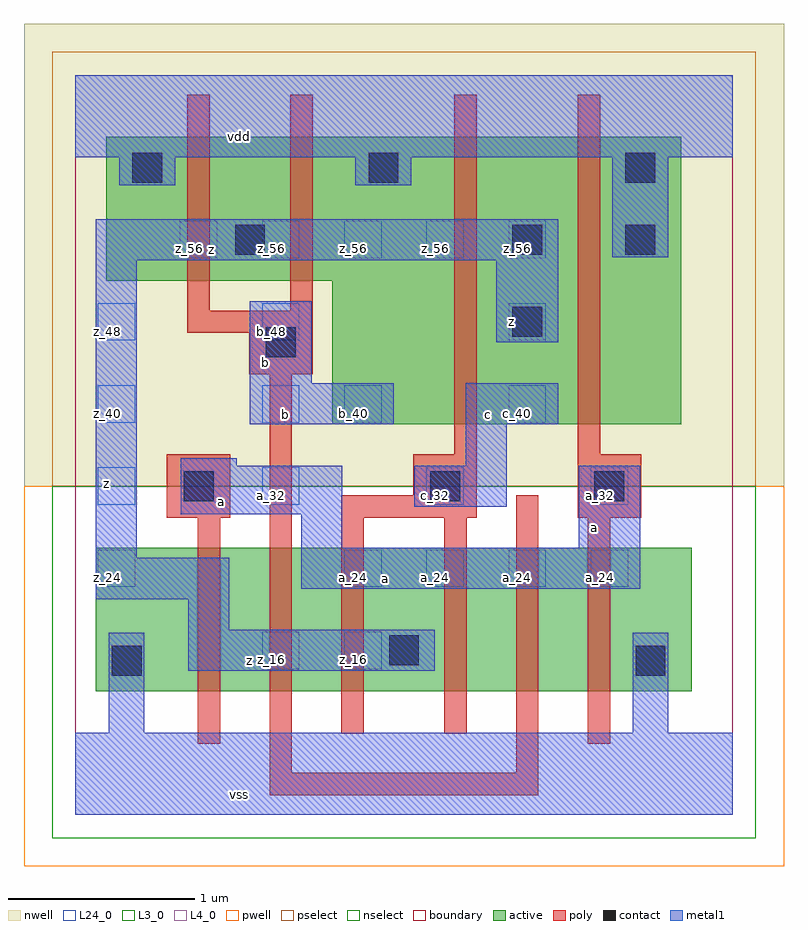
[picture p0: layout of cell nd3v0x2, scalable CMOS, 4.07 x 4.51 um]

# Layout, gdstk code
import gdstk
lib = gdstk.Library(unit=1e-6, precision=2.5e-09)
def R(c, l, rs):  # rectangles x0, y0, x1, y1
    for r in rs: c.add(gdstk.rectangle(r[:2], r[2:], *l))
def A(c, l, x, y, w, h, nx, ny, dx, dy):  # array of equal rectangles
    R(c, l, [(x+i*dx, y+j*dy, x+i*dx+w, y+j*dy+h) for i in range(nx) for j in range(ny)])
L3_0 = (3, 0)
L4_0 = (4, 0)
L24_0 = (24, 0)
contact = (25, 0)
pwell = (41, 0)
nwell = (42, 0)
active = (43, 0)
pselect = (44, 0)
nselect = (45, 0)
poly = (46, 0)
metal1 = (49, 0)
boundary = (63, 0)

nd3v0x2 = lib.new_cell('nd3v0x2')
R(nd3v0x2, L3_0, [(0.11,0.66,3.3,1.43)])
R(nd3v0x2, L4_0, [(1.375,2.09,3.245,2.86), (0.165,2.86,3.245,3.63)])
A(nd3v0x2, L24_0, 1.44, 1.22, 0.2, 0.2, 4, 1, 0.44, 0)
A(nd3v0x2, L24_0, 0.12, 1.66, 0.2, 0.2, 4, 1, 0.88, 0)
A(nd3v0x2, L24_0, 0.56, 2.98, 0.2, 0.2, 5, 1, 0.44, 0)
R(nd3v0x2, L24_0, [(1,0.78,1.2,0.98), (1.44,0.78,1.64,0.98), (0.12,1.22,0.32,1.42), (0.12,2.1,0.32,2.3), (1,2.1,1.2,2.3), (1.44,2.1,1.64,2.3), (2.32,2.1,2.52,2.3), (0.12,2.54,0.32,2.74), (1,2.54,1.2,2.74), (2.32,2.54,2.52,2.74)])
R(nd3v0x2, contact, [(0.195,0.745,0.355,0.905), (3,0.745,3.16,0.905), (1.68,0.8,1.84,0.96), (0.58,1.68,0.74,1.84), (1.9,1.68,2.06,1.84), (2.78,1.68,2.94,1.84), (1.02,2.45,1.18,2.61), (2.34,2.56,2.5,2.72), (0.855,3,1.015,3.16), (2.34,3,2.5,3.16), (2.945,3,3.105,3.16), (0.305,3.385,0.465,3.545), (1.57,3.385,1.73,3.545), (2.945,3.385,3.105,3.545)])
R(nd3v0x2, pwell, [(-0.275,-0.275,3.795,1.76)])
R(nd3v0x2, nwell, [(-0.275,1.76,3.795,4.235)])
R(nd3v0x2, active, [(0.11,0.66,3.3,1.43), (1.375,2.09,3.245,2.86), (0.165,2.86,3.245,3.63)])
R(nd3v0x2, pselect, [(-0.125,1.76,3.645,4.085)])
R(nd3v0x2, nselect, [(-0.125,-0.125,3.645,1.76)])
R(nd3v0x2, poly, [(1.04,0.105,2.48,0.225), (1.04,0.225,1.16,2.36), (2.36,0.225,2.48,1.71), (0.655,0.38,0.775,1.59), (2.745,0.38,2.865,1.59), (1.425,0.435,1.545,1.59), (1.975,0.435,2.095,1.59), (0.49,1.59,0.83,1.93), (1.425,1.59,2.15,1.71), (2.69,1.59,3.03,1.93), (1.81,1.71,2.15,1.93), (2.03,1.93,2.15,3.855), (2.69,1.93,2.81,3.855), (0.93,2.36,1.27,2.58), (0.6,2.58,1.27,2.7), (0.6,2.7,0.72,3.855), (1.15,2.7,1.27,3.855)])
R(nd3v0x2, metal1, [(0,0,3.52,0.44), (0.18,0.44,0.37,0.975), (2.985,0.44,3.175,0.975), (0.605,0.77,1.925,0.99), (0.605,0.99,0.825,1.155), (0.11,1.155,0.825,1.375), (1.21,1.21,3.025,1.43), (0.11,1.375,0.33,2.97), (1.21,1.43,1.43,1.61), (2.695,1.43,3.025,1.87), (0.565,1.61,1.43,1.87), (1.815,1.65,2.31,1.87), (0.565,1.87,0.865,1.91), (2.09,1.87,2.31,2.09), (0.935,2.09,1.705,2.31), (2.09,2.09,2.585,2.31), (0.935,2.31,1.265,2.75), (2.255,2.53,2.585,2.97), (0.11,2.97,2.585,3.19), (2.875,2.985,3.175,3.52), (0.235,3.37,0.535,3.52), (1.5,3.37,1.8,3.52), (0,3.52,3.52,3.96)])
R(nd3v0x2, boundary, [(0,0,3.52,3.96)])
nd3v0x2.add(gdstk.Label('vss', (0.88,0.11), layer=49, texttype=0))
nd3v0x2.add(gdstk.Label('z', (0.935,0.825), layer=49, texttype=0))
nd3v0x2.add(gdstk.Label('a', (1.6625,1.265), layer=49, texttype=0))
nd3v0x2.add(gdstk.Label('a', (2.7775,1.54), layer=49, texttype=0))
nd3v0x2.add(gdstk.Label('a', (0.78,1.675), layer=49, texttype=0))
nd3v0x2.add(gdstk.Label('c', (2.2125,2.145), layer=49, texttype=0))
nd3v0x2.add(gdstk.Label('b', (1.1275,2.145), layer=49, texttype=0))
nd3v0x2.add(gdstk.Label('z', (2.3375,2.64), layer=49, texttype=0))
nd3v0x2.add(gdstk.Label('b', (1.0175,2.42), layer=49, texttype=0))
nd3v0x2.add(gdstk.Label('z', (0.165,1.7725), layer=49, texttype=0))
nd3v0x2.add(gdstk.Label('z', (0.7275,3.025), layer=49, texttype=0))
nd3v0x2.add(gdstk.Label('vdd', (0.88,3.63), layer=49, texttype=0))
nd3v0x2.add(gdstk.Label('a_32', (1.05,1.71), layer=24, texttype=0))
nd3v0x2.add(gdstk.Label('b_40', (1.49,2.15), layer=24, texttype=0))
nd3v0x2.add(gdstk.Label('b_48', (1.05,2.59), layer=24, texttype=0))
nd3v0x2.add(gdstk.Label('z_56', (2.37,3.03), layer=24, texttype=0))
nd3v0x2.add(gdstk.Label('a_32', (2.81,1.71), layer=24, texttype=0))
nd3v0x2.add(gdstk.Label('a_24', (2.81,1.27), layer=24, texttype=0))
nd3v0x2.add(gdstk.Label('z_48', (2.37,2.59), layer=24, texttype=0))
nd3v0x2.add(gdstk.Label('c_40', (2.37,2.15), layer=24, texttype=0))
nd3v0x2.add(gdstk.Label('a_24', (2.37,1.27), layer=24, texttype=0))
nd3v0x2.add(gdstk.Label('z_48', (0.17,2.59), layer=24, texttype=0))
nd3v0x2.add(gdstk.Label('z_40', (0.17,2.15), layer=24, texttype=0))
nd3v0x2.add(gdstk.Label('z_32', (0.17,1.71), layer=24, texttype=0))
nd3v0x2.add(gdstk.Label('z_24', (0.17,1.27), layer=24, texttype=0))
nd3v0x2.add(gdstk.Label('z_56', (1.93,3.03), layer=24, texttype=0))
nd3v0x2.add(gdstk.Label('c_32', (1.93,1.71), layer=24, texttype=0))
nd3v0x2.add(gdstk.Label('a_24', (1.93,1.27), layer=24, texttype=0))
nd3v0x2.add(gdstk.Label('z_56', (1.49,3.03), layer=24, texttype=0))
nd3v0x2.add(gdstk.Label('a_24', (1.49,1.27), layer=24, texttype=0))
nd3v0x2.add(gdstk.Label('z_16', (1.49,0.83), layer=24, texttype=0))
nd3v0x2.add(gdstk.Label('z_56', (1.05,3.03), layer=24, texttype=0))
nd3v0x2.add(gdstk.Label('b_40', (1.05,2.15), layer=24, texttype=0))
nd3v0x2.add(gdstk.Label('z_16', (1.05,0.83), layer=24, texttype=0))
nd3v0x2.add(gdstk.Label('z_56', (0.61,3.03), layer=24, texttype=0))

lib.write_gds('nd3v0x2.gds')
